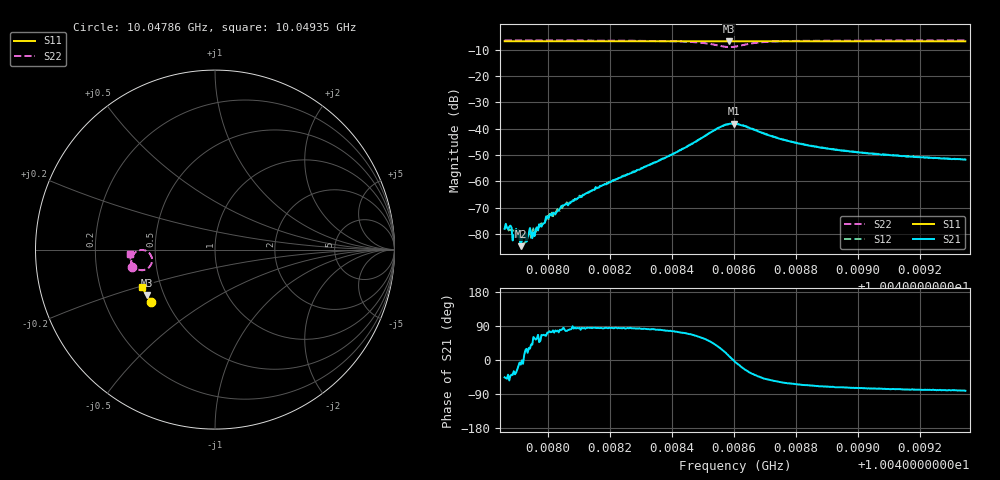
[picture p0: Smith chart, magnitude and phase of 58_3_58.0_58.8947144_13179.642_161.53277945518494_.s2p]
#  HZ  S  RI  R  50.00
! Rohde & Schwarz Vector Network Analyzer
! Rohde-Schwarz,ZNB20-2Port,1311601062101988,3.16
! Created: UTC 3/21/2024, 12:52:53 AM
! freq[Hz]  re:S11  im:S11  re:S21  im:S21  re:S12  im:S12  re:S22  im:S22
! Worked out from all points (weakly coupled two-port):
!   401 points, 10.04786 GHz to 10.04935 GHz, reference 50 ohm
!   highest |S21| = -38.05 dB at 10.0486 GHz (marker M1); lowest = -84.6 dB at 10.04791 GHz (marker M2)
!   lowest |S11| = -6.8 dB at 10.04859 GHz (marker M3), VSWR 2.68, Z = 20.1 - j12.8 ohm
!   |S11| at or under -10 dB: nowhere
!   |S22| runs from -9.0 to -6.5 dB; largest |S21 - S12| = 0.00097
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1.004786e10  -0.3547 -0.2925  8.74e-05 -8.98e-05  9.07e-05 -8.55e-05  -0.4647 -0.0985
1.0047871e10  -0.3551 -0.2918  9.61e-05 -7.72e-05  8.55e-05 -7.53e-05  -0.4647 -0.0976
1.0047893e10  -0.3558 -0.2907  6.97e-05 -5.42e-05  0.000102 -6.26e-05  -0.4652 -0.0956
1.0047912e10  -0.3568 -0.2897  5.75e-05 -1.23e-05  6.61e-05 -1.4e-05  -0.4653 -0.0943
1.0047942e10  -0.3579 -0.288  0.000113 6.53e-05  7.69e-05 7.04e-05  -0.4656 -0.0919
1.0047953e10  -0.3583 -0.2875  5.29e-05 9.41e-05  7.14e-05 0.000108  -0.4655 -0.0906
1.0047983e10  -0.3596 -0.2858  6.37e-05 0.000139  5.36e-05 0.000154  -0.4659 -0.0882
1.0048001e10  -0.3603 -0.2849  6.16e-05 0.000194  7.38e-05 0.000172  -0.4661 -0.0865
1.0048027e10  -0.3613 -0.2836  6.5e-05 0.000253  5.32e-05 0.000267  -0.4663 -0.0842
1.004805e10  -0.3623 -0.2823  2.72e-05 0.000348  4e-05 0.000344  -0.4665 -0.0821
1.0048109e10  -0.3646 -0.2792  4.59e-05 0.000529  1.69e-05 0.000502  -0.4667 -0.0762
1.0048161e10  -0.3667 -0.2764  7.07e-05 0.000751  3.88e-05 0.000763  -0.4669 -0.0708
1.0048358e10  -0.3741 -0.2653  0.000449 0.00243  0.000299 0.0025  -0.4623 -0.0422
1.004844e10  -0.377 -0.2606  0.00139 0.00409  0.00118 0.00415  -0.4511 -0.0226
1.0048526e10  -0.3795 -0.2555  0.00574 0.00636  0.00539 0.00666  -0.406 -0.00181
1.0048585e10  -0.3809 -0.2524  0.0122 0.00207  0.012 0.00282  -0.3515 -0.0483
1.00486e10  -0.3814 -0.2518  0.0125 -0.000284  0.0125 0.000467  -0.3522 -0.0712
1.0048604e10  -0.3815 -0.2518  0.0123 -0.00109  0.0125 -0.000143  -0.3538 -0.0766
1.0048697e10  -0.3853 -0.2471  0.00537 -0.00614  0.00583 -0.00575  -0.429 -0.1109
1.0048853e10  -0.391 -0.2383  0.0018 -0.00429  0.00203 -0.00425  -0.4628 -0.0784
1.0049102e10  -0.399 -0.2236  0.000722 -0.00305  0.00091 -0.00305  -0.4716 -0.0481
1.0049348e10  -0.4063 -0.2092  0.0004 -0.00257  0.000552 -0.00256  -0.4739 -0.0266
